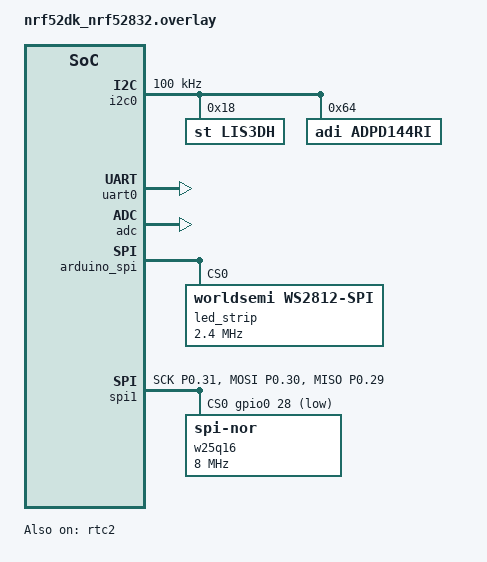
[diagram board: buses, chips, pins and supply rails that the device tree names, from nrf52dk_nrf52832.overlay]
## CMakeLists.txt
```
cmake_minimum_required(VERSION 3.20.0)
find_package(Zephyr REQUIRED HINTS $ENV{ZEPHYR_BASE})
project(Vitals_monitoring_system)


set(PARTITION_MANAGER_CONFIG ${CMAKE_CURRENT_SOURCE_DIR}/pm.yml)
# Add src/ as an include directory so headers like ble.h are found
target_link_libraries(app PUBLIC m)

target_include_directories(app PRIVATE src)

# Add all your C source files
target_sources(app PRIVATE
    src/main.c
    src/ble.c
    src/adpd144ri.c
    src/rtc.c
    src/temp.c
    src/lis3dh.c
    src/ws2812.c
    src/button.c
    src/gpio.c
)
```

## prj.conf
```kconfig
# # --- I2C ---
# CONFIG_I2C=y
# CONFIG_I2C_NRFX=y

# # --- UART & Logging ---
# CONFIG_SERIAL=y
# CONFIG_UART_CONSOLE=y
# CONFIG_PRINTK=y
# CONFIG_LOG=y
# CONFIG_LOG_MODE_IMMEDIATE=y

# # --- BLE Peripheral ---
# CONFIG_BT=y
# CONFIG_BT_PERIPHERAL=y
# CONFIG_BT_DEVICE_NAME="Vitals"
# CONFIG_BT_DEVICE_APPEARANCE=833
# CONFIG_BT_GATT_DYNAMIC_DB=y   # Required for dynamic GATT table

# CONFIG_BT_CONN_PARAM_UPDATE_TIMEOUT=5000
# CONFIG_BT_MAX_CONN=1

# # Optimized buffer configuration for notifications
# # Lower than defaults to save RAM but remain sufficient for throughput
# CONFIG_BT_CONN_TX_MAX=12
# CONFIG_BT_L2CAP_TX_MTU=247
# CONFIG_BT_BUF_ACL_TX_SIZE=251
# CONFIG_BT_BUF_ACL_TX_COUNT=10
# CONFIG_BT_BUF_ACL_RX_SIZE=251
# CONFIG_BT_BUF_ACL_RX_COUNT=6

# CONFIG_BT_MAX_PAIRED=1

# # Optional: Remove unnecessary GATT Client role
# CONFIG_BT_GATT_CLIENT=n
# CONFIG_BT_SMP=n

# # --- Threads / Memory ---
# # CONFIG_MAIN_STACK_SIZE=2048
# # CONFIG_SYSTEM_WORKQUEUE_STACK_SIZE=2048
# # CONFIG_HEAP_MEM_POOL_SIZE=4096

# # --- Time / POSIX ---
# CONFIG_NEWLIB_LIBC=y
# CONFIG_POSIX_API=y
# CONFIG_CBPRINTF_FP_SUPPORT=y
# CONFIG_NEWLIB_LIBC_FLOAT_PRINTF=y

# # --- ADC Support ---
# CONFIG_ADC=y
# CONFIG_ADC_NRFX_SAADC=y

# # --- Optional debugging helpers ---
# CONFIG_THREAD_NAME=y
# CONFIG_THREAD_MONITOR=y

# # --- GPIO & Clock ---
# CONFIG_GPIO=y
# CONFIG_CLOCK_CONTROL_NRF_K32SRC_XTAL=y

# # --- RTC / Counter ---
# CONFIG_NRFX_RTC2=y
# CONFIG_COUNTER=y
# #CONFIG_COUNTER_RTC=y
# CONFIG_RTC=y
# CONFIG_RTC_ALARM=y



# # SPI and SPI NOR flash support
# CONFIG_SPI=y
# CONFIG_SPI_NOR=y
# CONFIG_FLASH=y
# CONFIG_FLASH_MAP=y

# # External flash support & partition manager
# CONFIG_PM_PARTITION_REGION_LITTLEFS_EXTERNAL=y
# CONFIG_PM_EXTERNAL_FLASH_BASE=0x0


# # override driver check if driver not Nordic native
# CONFIG_PM_OVERRIDE_EXTERNAL_DRIVER_CHECK=y

# # File system
# CONFIG_FILE_SYSTEM=y
# CONFIG_FILE_SYSTEM_LITTLEFS=y

# # Logging
# CONFIG_LOG=y
# CONFIG_LOG_DEFAULT_LEVEL=3

# # Other necessities
# CONFIG_MAIN_STACK_SIZE=8192

# CONFIG_ISR_STACK_SIZE=4096

# CONFIG_LOG_PROCESS_THREAD_STACK_SIZE=3072

# CONFIG_HEAP_MEM_POOL_SIZE=16384

# CONFIG_SYSTEM_WORKQUEUE_STACK_SIZE=2048

# CONFIG_SPI_NRFX=y

# CONFIG_NORDIC_QSPI_NOR=n

# CONFIG_FLASH_PAGE_LAYOUT=y

# CONFIG_FS_LOG_LEVEL_INF=y

# CONFIG_SOC_NRF52832_ALLOW_SPIM_DESPITE_PAN_58=y

# CONFIG_MPU_STACK_GUARD=n
# CONFIG_INIT_STACKS=y

# CONFIG_THREAD_STACK_INFO=y

# CONFIG_HW_STACK_PROTECTION=y

# CONFIG_ASSERT=y

# # # Optional: analyze actual usage at boot
# # CONFIG_THREAD_ANALYZER=y
# # CONFIG_THREAD_ANALYZER_AUTO=y
# # CONFIG_THREAD_ANALYZER_USE_PRINTK=y

# # Enable shell
# CONFIG_SHELL=y
# CONFIG_SHELL_BACKEND_SERIAL=y
# CONFIG_SHELL_CMDS=y

# # Enable filesystem shell commands
# CONFIG_FILE_SYSTEM_SHELL=y

# # Enable file systems
# CONFIG_FILE_SYSTEM=y
# CONFIG_FILE_SYSTEM_LITTLEFS=y




# # --- I2C ---
# CONFIG_I2C=y
# CONFIG_I2C_NRFX=y

# # --- UART & Logging ---
# CONFIG_SERIAL=y
# CONFIG_UART_CONSOLE=y
# CONFIG_PRINTK=y
# CONFIG_CONSOLE=y
# CONFIG_LOG_BACKEND_UART=y
# CONFIG_LOG=y
# CONFIG_LOG_DEFAULT_LEVEL=3
# CONFIG_LOG_MODE_IMMEDIATE=y   # no log thread needed

# # --- LED --- #
# CONFIG_LED_STRIP=y
# CONFIG_LED_STRIP_LOG_LEVEL_DBG=y
# CONFIG_FPU=y


# # --- BLE Peripheral ---
# CONFIG_BT=y
# CONFIG_BT_PERIPHERAL=y
# CONFIG_BT_DEVICE_NAME="Vitals"
# CONFIG_BT_DEVICE_APPEARANCE=833
# CONFIG_BT_GATT_DYNAMIC_DB=y
# CONFIG_BT_CONN_PARAM_UPDATE_TIMEOUT=5000
# CONFIG_BT_MAX_CONN=1
# CONFIG_BT_MAX_PAIRED=1

# CONFIG_BT_CENTRAL=y


# # Optimized BLE buffers
# CONFIG_BT_CONN_TX_MAX=12
# CONFIG_BT_L2CAP_TX_MTU=247
# CONFIG_BT_BUF_ACL_TX_SIZE=251
# CONFIG_BT_BUF_ACL_TX_COUNT=10
# CONFIG_BT_BUF_ACL_RX_SIZE=251
# CONFIG_BT_BUF_ACL_RX_COUNT=6

# # Disable unused roles / security to save RAM
# CONFIG_BT_GATT_CLIENT=n
# CONFIG_BT_SMP=n

# # --- Threads / Memory ---
# CONFIG_MAIN_STACK_SIZE=2048
# CONFIG_ISR_STACK_SIZE=1024
# CONFIG_SYSTEM_WORKQUEUE_STACK_SIZE=1024
# CONFIG_HEAP_MEM_POOL_SIZE=2048

# # --- Time / POSIX ---
# CONFIG_NEWLIB_LIBC=n
# CONFIG_MINIMAL_LIBC=y
# CONFIG_POSIX_API=y
# CONFIG_CBPRINTF_FP_SUPPORT=y
# #CONFIG_NEWLIB_LIBC_FLOAT_PRINTF=y

# # Lower newlib heap requirement so it won't assert
# #CONFIG_NEWLIB_LIBC_MIN_REQUIRED_HEAP_SIZE=256

# # --- ADC Support ---
# CONFIG_ADC=y
# CONFIG_ADC_NRFX_SAADC=y

# # --- GPIO & Clock ---
# CONFIG_GPIO=y
# CONFIG_CLOCK_CONTROL_NRF_K32SRC_XTAL=y

# # --- RTC / Counter ---
# CONFIG_NRFX_RTC2=y
# CONFIG_COUNTER=y
# CONFIG_RTC=y
# CONFIG_RTC_ALARM=y

# # --- SPI & Flash ---
# CONFIG_SPI=y
# CONFIG_SPI_NRFX=y
# CONFIG_SOC_NRF52832_ALLOW_SPIM_DESPITE_PAN_58=y
# CONFIG_SPI_NOR=y
# CONFIG_FLASH=y
# CONFIG_FLASH_MAP=y
# CONFIG_FLASH_PAGE_LAYOUT=y

# # External flash + LittleFS
# CONFIG_PM_PARTITION_REGION_LITTLEFS_EXTERNAL=y
# CONFIG_PM_EXTERNAL_FLASH_BASE=0x0
# CONFIG_PM_OVERRIDE_EXTERNAL_DRIVER_CHECK=y
# CONFIG_FILE_SYSTEM=y
# CONFIG_FILE_SYSTEM_LITTLEFS=y
# CONFIG_FS_LOG_LEVEL_INF=y

# # --- Debug options (disable in production) ---
# CONFIG_ASSERT=y
# # CONFIG_THREAD_NAME=y
# # CONFIG_THREAD_MONITOR=y
# # CONFIG_INIT_STACKS=y
# # CONFIG_HW_STACK_PROTECTION=y
# # CONFIG_THREAD_ANALYZER=y
# # CONFIG_THREAD_ANALYZER_AUTO=y
# # CONFIG_THREAD_ANALYZER_USE_PRINTK=y

# # --- Optional shell (disable if not needed) ---
# CONFIG_SHELL=y
# CONFIG_SHELL_BACKEND_SERIAL=y
# CONFIG_SHELL_CMDS=y
# CONFIG_FILE_SYSTEM_SHELL=y
# # Increase shell UART thread stack to prevent overflow
# CONFIG_SHELL_STACK_SIZE=4096



# --- I2C ---
CONFIG_I2C=y
CONFIG_I2C_NRFX=y

# --- UART & Logging ---
CONFIG_SERIAL=y
CONFIG_UART_CONSOLE=y
CONFIG_PRINTK=y
CONFIG_CONSOLE=y
CONFIG_LOG_BACKEND_UART=y
CONFIG_LOG=y
CONFIG_LOG_DEFAULT_LEVEL=3
CONFIG_LOG_MODE_IMMEDIATE=y

# --- LED ---
CONFIG_LED_STRIP=y
CONFIG_LED_STRIP_LOG_LEVEL_DBG=y
CONFIG_FPU=y

# --- BLE Peripheral ---
CONFIG_BT=y
CONFIG_BT_PERIPHERAL=y
CONFIG_BT_DEVICE_NAME="Vitals"
CONFIG_BT_DEVICE_APPEARANCE=833
CONFIG_BT_GATT_DYNAMIC_DB=y
CONFIG_BT_CONN_PARAM_UPDATE_TIMEOUT=5000
CONFIG_BT_MAX_CONN=1
CONFIG_BT_MAX_PAIRED=1
CONFIG_BT_RX_STACK_SIZE=2048

# CONFIG_BT_CENTRAL=y
CONFIG_BT_GATT_CLIENT=n
CONFIG_BT_SMP=n

CONFIG_BT_CONN_TX_MAX=12
CONFIG_BT_L2CAP_TX_MTU=247
CONFIG_BT_BUF_ACL_TX_SIZE=251
CONFIG_BT_BUF_ACL_TX_COUNT=10
CONFIG_BT_BUF_ACL_RX_SIZE=251
CONFIG_BT_BUF_ACL_RX_COUNT=6

# --- Threads / Memory ---
CONFIG_MAIN_STACK_SIZE=2048
CONFIG_ISR_STACK_SIZE=1024
CONFIG_SYSTEM_WORKQUEUE_STACK_SIZE=2048
CONFIG_HEAP_MEM_POOL_SIZE=2048

# --- Time / POSIX ---
CONFIG_NEWLIB_LIBC=y
CONFIG_MINIMAL_LIBC=n
CONFIG_POSIX_API=n
CONFIG_CBPRINTF_FP_SUPPORT=y
# Remove Newlib-specific options
CONFIG_NEWLIB_LIBC_FLOAT_PRINTF=y
CONFIG_NEWLIB_LIBC_MIN_REQUIRED_HEAP_SIZE=256

# --- ADC Support ---
CONFIG_ADC=y
CONFIG_NRFX_SAADC=y
CONFIG_ADC_NRFX_SAADC=y

# --- GPIO & Clock ---
CONFIG_GPIO=y
CONFIG_GPIO_NRFX=y
CONFIG_CLOCK_CONTROL_NRF_K32SRC_XTAL=y

# --- RTC / Counter ---
CONFIG_NRFX_RTC2=y
CONFIG_COUNTER=y
CONFIG_RTC=y
CONFIG_RTC_ALARM=y

# --- SPI & Flash ---
CONFIG_SPI=y
CONFIG_SPI_NRFX=y
CONFIG_SOC_NRF52832_ALLOW_SPIM_DESPITE_PAN_58=y
CONFIG_SPI_NOR=y
CONFIG_FLASH=y
CONFIG_FLASH_MAP=y
CONFIG_FLASH_PAGE_LAYOUT=y

# --- External Flash + LittleFS ---
CONFIG_PM_PARTITION_REGION_LITTLEFS_EXTERNAL=y
CONFIG_PM_EXTERNAL_FLASH_BASE=0x0
CONFIG_PM_OVERRIDE_EXTERNAL_DRIVER_CHECK=y
CONFIG_FILE_SYSTEM=y
CONFIG_FILE_SYSTEM_LITTLEFS=y
CONFIG_FS_LOG_LEVEL_INF=y

# --- Debug options ---
CONFIG_ASSERT=y

# # --- Shell support ---
# CONFIG_SHELL=y
# CONFIG_SHELL_BACKEND_SERIAL=y
# CONFIG_SHELL_CMDS=y
# CONFIG_FILE_SYSTEM_SHELL=y
# CONFIG_SHELL_STACK_SIZE=4096

CONFIG_PM_DEVICE=y
```

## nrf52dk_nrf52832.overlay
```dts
/* --- I2C0 (TWIM0) --- */
&i2c0 {
    status = "okay";
    clock-frequency = <I2C_BITRATE_STANDARD>;
    pinctrl-0 = <&i2c0_default>;
    pinctrl-1 = <&i2c0_sleep>;
    pinctrl-names = "default", "sleep";

    lis3dh@18 {
        compatible = "st,lis3dh";
        reg = <0x18>;
        label = "LIS3DH";
        status = "okay";
    };

    adpd144ri@64 {
        compatible = "adi,adpd144ri";
        reg = <0x64>;
        label = "ADPD144RI";
        status = "okay";
    };
};



&uart0{
    status = "okay";
};

/* --- RTC2 --- */
&rtc2 {
    status = "okay";
};

// /* --- SAADC --- */
// &adc {
//     status = "okay";

//     /* Channel 1: Temperature on AIN2 (P0.04) */
//     channel@1 {
//         reg = <1 0 1>;
//         zephyr,gain = "ADC_GAIN_1_4";
//         zephyr,reference = "ADC_REF_VDD_1_4";
//         zephyr,acquisition-time = <ADC_ACQ_TIME_DEFAULT>;
//         zephyr,input-positive = <2>;   /* AIN2 = P0.04 */
//     };

//     /* Channel 6: Battery on AIN6 (P0.30) */
//     channel@6 {
//         reg = <6 0 1>;
//         zephyr,gain = "ADC_GAIN_1_6";
//         zephyr,reference = "ADC_REF_INTERNAL";
//         zephyr,acquisition-time = <ADC_ACQ_TIME_DEFAULT>;
//         zephyr,input-positive = <6>;   /* AIN6 = P0.30 */
//     };
// };


// /* --- SAADC --- */
// &adc {
//     status = "okay";

//     /* Channel 1: Temperature on AIN2 */
//     channel@1 {
//         reg = <1 0 1>;
//         zephyr,gain = "ADC_GAIN_1_4";
//         zephyr,reference = "ADC_REF_VDD_1_4";
//         zephyr,acquisition-time = <ADC_ACQ_TIME_DEFAULT>;
//         zephyr,input-positive = <2>;
//     };

//     /* Channel 3: Battery on AIN3 */
//     channel@0 {
//         reg = <0 0 1>;
//         zephyr,gain = "ADC_GAIN_1_6";
//         zephyr,reference = "ADC_REF_INTERNAL";
//         zephyr,acquisition-time = <ADC_ACQ_TIME_DEFAULT>;
//         zephyr,input-positive = <1>;
//     };
// };



#include <zephyr/dt-bindings/led/led.h>

//#include "../nrf52-bindings.h"
&adc {
    status = "okay";
};

&arduino_spi { /* MOSI on D11 / P0.23 */
	compatible = "nordic,nrf-spim";
	led_strip: ws2812@0 {
		compatible = "worldsemi,ws2812-spi";

		/* SPI */
		reg = <0>; /* ignored, but necessary for SPI bindings */
		spi-max-frequency = <2400000>;

		/* WS2812 */
		chain-length = <1>; /* arbitrary; change at will */
		color-mapping = <LED_COLOR_ID_GREEN
				 LED_COLOR_ID_RED
				 LED_COLOR_ID_BLUE>;  
     		spi-one-frame = <0x60>;
		spi-zero-frame = <0x40>;
	};
};

/ {
    aliases {
        led0 = &led0;
        sw0 = &button0;
        led-strip = &led_strip;
    };
};

/ {
    chosen {
        nordic,pm-ext-flash = &w25q16;
        zephyr,flash = &flash0;
    };
};

&pinctrl {
    spi_master_default: spi_master_default {
        group1 {
            psels = <NRF_PSEL(SPIM_SCK, 0, 31)>,
                    <NRF_PSEL(SPIM_MOSI, 0, 30)>,
                    <NRF_PSEL(SPIM_MISO, 0, 29)>;
        };
    };
    spi_master_sleep: spi_master_sleep {
        group1 {
            psels = <NRF_PSEL(SPIM_SCK, 0, 31)>,
                    <NRF_PSEL(SPIM_MOSI, 0, 30)>,
                    <NRF_PSEL(SPIM_MISO, 0, 29)>;
            low-power-enable;
        };
    };
};

&spi1 {
    status = "okay";
    pinctrl-0 = <&spi_master_default>;
    pinctrl-1 = <&spi_master_sleep>;
    pinctrl-names = "default", "sleep";

    cs-gpios = <&gpio0 28 GPIO_ACTIVE_LOW>;

    w25q16: w25q16@0 {
        compatible = "jedec,spi-nor";
        reg = <0>;
        spi-max-frequency = <8000000>; /* 8 MHz or adjust as needed */
        jedec-id = [ ef 40 15 ];       /* W25Q16 JEDEC ID */
        size = <0x1000000>;             /* 2 MB (ensure correct size for your chip) */
        label = "w25q16";
        status = "okay";

    };
};
```

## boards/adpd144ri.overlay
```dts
&i2c0 {
    status = "okay";
    clock-frequency = <I2C_BITRATE_STANDARD>;
    sda-pin = <26>;
    scl-pin = <27>;
};

&uart0 {
    status = "okay";
    current-speed = <115200>;
};

&rtc2 {
    status = "okay";
};

&adc {
    status = "okay";

    /* Optional: configure ADC calibration if supported */
    /* calibration = <1>; */

    /* Configure ADC channel used by temperature sensor */
    channels {
        temp_sensor_channel: temp-sensor-channel {
            channel = <1>;             /* ADC channel ID, matching your code */
            input = <NRF_SAADC_INPUT_AIN2>; /* AIN2, P0.03, as per your implementation */
            gain = <ADC_GAIN_1_6>;    /* Gain as you define in code */
            reference = <ADC_REF_INTERNAL>;
            acquisition-time = <ADC_ACQ_TIME_DEFAULT>;
        };
    };
};
```

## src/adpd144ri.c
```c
#include <zephyr/device.h>
#include <zephyr/drivers/i2c.h>
#include <zephyr/sys/printk.h>
#include "adpd144ri.h"

#define ADPD144RI_I2C_ADDR 0x64        // I2C slave address

/*This function writes a 16-bit value to a register of the ADPD144RI sensor via the I2C interface.*/
int adpd144ri_write_reg16(const struct device *i2c_dev, uint8_t reg, uint16_t value) {
    uint8_t buf[3] = { reg, value >> 8, value & 0xFF };
    int ret = i2c_write(i2c_dev, buf, sizeof(buf), ADPD144RI_I2C_ADDR);
    if (ret)
        printk("[I2C] Write reg 0x%02X failed: %d\n", reg, ret);
    return ret;
}


/*This function reads a 16-bit register value from the ADPD144RI optical sensor using the I2C interface.*/
int adpd144ri_read_reg16(const struct device *i2c_dev, uint8_t reg, uint16_t *value) {
    uint8_t data[2];
    int ret = i2c_write_read(i2c_dev, ADPD144RI_I2C_ADDR, &reg, 1, data, 2);
    if (ret)
        printk("[I2C] Read reg 0x%02X failed: %d\n", reg, ret);
    else
        *value = (data[0] << 8) | data[1];
    return ret;
}


/*This function sets up (initializes and configures) the ADPD144RI sensor module via I2C for SPO2 (blood oxygen) and heart rate (HR) monitoring.*/
int adpd144ri_configure_spo2_hr(const struct device *i2c_dev) {
    printk("[I2C] Configuring ADPD144RI sensor ...\n");
    int rc = 0;
    rc += adpd144ri_write_reg16(i2c_dev, 0x10, 0x0001);
    rc += adpd144ri_write_reg16(i2c_dev, 0x02, 0x0005);     
    rc += adpd144ri_write_reg16(i2c_dev, 0x01, 0x009F);
    rc += adpd144ri_write_reg16(i2c_dev, 0x11, 0x30A9);
    rc += adpd144ri_write_reg16(i2c_dev, 0x12, 0x0102);
    rc += adpd144ri_write_reg16(i2c_dev, 0x15, 0x0330);
    rc += adpd144ri_write_reg16(i2c_dev, 0x14, 0x0116);
    rc += adpd144ri_write_reg16(i2c_dev, 0x18, 0x3FFF);
    rc += adpd144ri_write_reg16(i2c_dev, 0x19, 0x3FFF);
    rc += adpd144ri_write_reg16(i2c_dev, 0x1A, 0x1FF0);
    rc += adpd144ri_write_reg16(i2c_dev, 0x1B, 0x1FF0);
    rc += adpd144ri_write_reg16(i2c_dev, 0x1E, 0x3FFF);
    rc += adpd144ri_write_reg16(i2c_dev, 0x1F, 0x3FFF);
    rc += adpd144ri_write_reg16(i2c_dev, 0x20, 0x1FF0);
    rc += adpd144ri_write_reg16(i2c_dev, 0x21, 0x1FF0);
    rc += adpd144ri_write_reg16(i2c_dev, 0x23, 0x3005);
    rc += adpd144ri_write_reg16(i2c_dev, 0x24, 0x3007);
    rc += adpd144ri_write_reg16(i2c_dev, 0x25, 0x0207);
    rc += adpd144ri_write_reg16(i2c_dev, 0x30, 0x0319);
    rc += adpd144ri_write_reg16(i2c_dev, 0x31, 0x0813);
    rc += adpd144ri_write_reg16(i2c_dev, 0x35, 0x0319);
    rc += adpd144ri_write_reg16(i2c_dev, 0x36, 0x0813);
    rc += adpd144ri_write_reg16(i2c_dev, 0x39, 0x21F3);
    rc += adpd144ri_write_reg16(i2c_dev, 0x3B, 0x21F3);
    rc += adpd144ri_write_reg16(i2c_dev, 0x42, 0x1C36);
    rc += adpd144ri_write_reg16(i2c_dev, 0x44, 0x1C36);
    rc += adpd144ri_write_reg16(i2c_dev, 0x4E, 0x0040);
    rc += adpd144ri_write_reg16(i2c_dev, 0x4B, 0x0080);
    rc += adpd144ri_write_reg16(i2c_dev, 0x10, 0x0002);
    k_msleep(50);
    if (rc)
        printk("[I2C] One or more sensor config writes failed: rc=%d\n", rc);
    else
        printk("[I2C] ADPD144RI configuration done.\n");
    return rc;
}


/*This function reads two 24-bit sensor channel values from the ADPD144RI sensor using I2C*/
int adpd144ri_read_2ch(const struct device *i2c_dev, uint32_t *data) {
    int rc = adpd144ri_write_reg16(i2c_dev, 0x5F, 0x0006);
    if (rc) { printk("[I2C] Measurement reg set failed: %d\n", rc); return rc; }

    uint16_t ch_red_l=0, ch_red_h=0, ch_ir_l=0, ch_ir_h=0;

    rc |= adpd144ri_read_reg16(i2c_dev, 0x72, &ch_red_l);      // Read CH3 LSB 
    rc |= adpd144ri_read_reg16(i2c_dev, 0x76, &ch_red_h);      // Read CH3 MSB 
    rc |= adpd144ri_read_reg16(i2c_dev, 0x73, &ch_ir_l);      // Read CH4 LSB
    rc |= adpd144ri_read_reg16(i2c_dev, 0x77, &ch_ir_h);      // Read CH4 MSB

    if (rc) { printk("[I2C] One or more channel reads failed: rc=%d\n", rc); return rc; }

    data[0] = ((uint32_t)ch_red_h << 16) | ch_red_l;      // CH3 = MSB << 16 | LSB
    data[1] = ((uint32_t)ch_ir_h << 16) | ch_ir_l;      // CH4 = MSB << 16 | LSB  
    
    rc = adpd144ri_write_reg16(i2c_dev, 0x5F, 0x0000);
    if (rc) { printk("[I2C] Measurement reg reset failed: %d\n", rc); return rc; }
    return 0;
}
```

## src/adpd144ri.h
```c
#ifndef ADPD144RI_H
#define ADPD144RI_H
#include <zephyr/device.h>
#include <stdint.h>

#define PPG_NUM_CHANNELS 2                 // Number of sensor data channels to read

typedef struct {
    uint16_t ppg_sample_id;
    uint64_t timestamp_ms;                // Timestamp when sample was taken
    uint32_t channels[PPG_NUM_CHANNELS]; // Array to hold red and IR LED values
} PPGSample;

int adpd144ri_write_reg16(const struct device *i2c_dev, uint8_t reg, uint16_t value);
int adpd144ri_read_reg16(const struct device *i2c_dev, uint8_t reg, uint16_t *value);
int adpd144ri_configure_spo2_hr(const struct device *i2c_dev);
int adpd144ri_read_2ch(const struct device *i2c_dev, uint32_t *data);

#endif
```

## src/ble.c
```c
#include <zephyr/kernel.h>
#include <zephyr/sys/printk.h>
#include <zephyr/bluetooth/bluetooth.h>
#include <zephyr/bluetooth/gatt.h>
#include <zephyr/logging/log.h>
#include <zephyr/bluetooth/uuid.h>
#include <zephyr/bluetooth/hci.h>
#include <string.h>
#include "ble.h"
#include "ws2812.h"


uint16_t patient_id;
/* Backing storage for ACK characteristic */
uint8_t ack_value[10];  
static struct bt_gatt_attr *ack_char_attr = NULL;

/* Read callback */
static ssize_t read_ack(struct bt_conn *conn,
                        const struct bt_gatt_attr *attr,
                        void *buf, uint16_t len, uint16_t offset)
{
    const char *value = (const char *)ack_value;
    return bt_gatt_attr_read(conn, attr, buf, len, offset, value, strlen(value));
}

/* Write callback (from mobile side) */
static ssize_t write_ack(struct bt_conn *conn,
                         const struct bt_gatt_attr *attr,
                         const void *buf, uint16_t len,
                         uint16_t offset, uint8_t flags)
{
    if (len >= sizeof(ack_value)) {
        return BT_GATT_ERR(BT_ATT_ERR_INVALID_ATTRIBUTE_LEN);
    }

    memset(ack_value, 0, sizeof(ack_value));
    memcpy(ack_value, buf, len);

    printk("ACK updated from mobile: %s\n", ack_value);

    return len;
}

/* --- Patient ID Characteristic --- */
ssize_t write_patient_id(struct bt_conn *conn,
                         const struct bt_gatt_attr *attr,
                         const void *buf, uint16_t len,
                         uint16_t offset, uint8_t flags)
{
    if (len == 2) {
        memcpy(&patient_id, buf, sizeof(patient_id));
        printk("Patient ID received: %u\n", patient_id);
    }
    return len;
}

uint32_t UNIX_TIME_START = 0;

ssize_t write_timestamp(struct bt_conn *conn,
                        const struct bt_gatt_attr *attr,
                        const void *buf, uint16_t len,
                        uint16_t offset, uint8_t flags)
{
    if (len == 4) {
        uint32_t unix_time =
              ((uint32_t)((uint8_t*)buf)[0]) |
              ((uint32_t)((uint8_t*)buf)[1] << 8) |
              ((uint32_t)((uint8_t*)buf)[2] << 16) |
              ((uint32_t)((uint8_t*)buf)[3] << 24);

        printk("Received UNIX time: %u (s)\n", unix_time);

        rtc2_init(unix_time);  

        uint64_t now = get_timestamp_ms();
        printk("Full timestamp (ms): %llu\n", (uint64_t)now);

        char buf_time[32];
        format_timestamp(now, buf_time, sizeof(buf_time));
        printk("Formatted time: %s\n", buf_time);
    }
    return len;
}

char sensor_notify_buf_ppg[SENSOR_NOTIFY_BUF_SIZE];
char sensor_notify_buf_temp[SENSOR_NOTIFY_BUF_SIZE];
char sensor_notify_buf_accel[SENSOR_NOTIFY_BUF_SIZE];

struct bt_conn *current_conn = NULL;
volatile bool notify_enabled_ppg = false;
volatile bool notify_enabled_temp = false;
volatile bool notify_enabled_accel = false;
volatile bool ack_notify_enabled = false;
struct k_mutex notify_buf_mutex;

/* ---------- UUIDs ---------- */
/* One Service UUID */
static struct bt_uuid_128 vitals_service_uuid = BT_UUID_INIT_128(
    0xac, 0xdf, 0xd2, 0x00, 0x4b, 0xd6, 0x69, 0xac,
    0x97, 0x42, 0x94, 0x26, 0x3e, 0x24, 0x9e, 0xf6);

/* Three Characteristic UUIDs */
static struct bt_uuid_128 ppg_char_uuid = BT_UUID_INIT_128(
    0xb7, 0x5c, 0xb4, 0x7b, 0xb8, 0x27, 0x5a, 0xa1,
    0x20, 0x44, 0x4b, 0x9c, 0xd4, 0x4a, 0x95, 0x4c);

static struct bt_uuid_128 temp_char_uuid = BT_UUID_INIT_128(
    0xd2, 0xf8, 0x67, 0x5a, 0xce, 0x5a, 0x64, 0x86,
    0xfe, 0x43, 0xf6, 0x7a, 0x90, 0x67, 0xf6, 0x66);

static struct bt_uuid_128 accel_char_uuid = BT_UUID_INIT_128(
    0x98, 0x65, 0x12, 0xa1, 0xd8, 0x03, 0xb3, 0x93,
    0x42, 0xf1, 0x61, 0x43, 0x96, 0x21, 0xf5, 0x0a);

/* -------- ACK Characteristic UUID -------- */
static struct bt_uuid_128 ack_char_uuid =
    BT_UUID_INIT_128(0xf1, 0xde, 0xbc, 0x9a, 0x78, 0x56, 0x34, 0x12,
                     0x34, 0x12, 0x78, 0x56, 0x34, 0x12, 0x56, 0x12);

/* -------- Patient ID Characteristic UUID -------- */
static struct bt_uuid_128 patient_id_char_uuid =
    BT_UUID_INIT_128(0xf2, 0xde, 0xbc, 0x9a, 0x78, 0x56, 0x34, 0x12,
                     0x34, 0x12, 0x78, 0x56, 0x34, 0x12, 0x56, 0x12);

/* -------- Timestamp Characteristic UUID -------- */
static struct bt_uuid_128 timestamp_char_uuid =
    BT_UUID_INIT_128(0xf3, 0xde, 0xbc, 0x9a, 0x78, 0x56, 0x34, 0x12,
                     0x34, 0x12, 0x78, 0x56, 0x34, 0x12, 0x56, 0x12);

const struct bt_gatt_attr *ppg_char_attr = NULL;
const struct bt_gatt_attr *temp_char_attr = NULL;
const struct bt_gatt_attr *accel_char_attr = NULL;

/* ---------- Read Callbacks ---------- */
static ssize_t read_ppg(struct bt_conn *conn, const struct bt_gatt_attr *attr,
                        void *buf, uint16_t len, uint16_t offset)
{
    ssize_t ret;
    k_mutex_lock(&notify_buf_mutex, K_FOREVER);
    ret = bt_gatt_attr_read(conn, attr, buf, len, offset,
                            sensor_notify_buf_ppg, strlen(sensor_notify_buf_ppg));
    k_mutex_unlock(&notify_buf_mutex);
    return ret;
}

static ssize_t read_temp(struct bt_conn *conn, const struct bt_gatt_attr *attr,
                         void *buf, uint16_t len, uint16_t offset)
{
    ssize_t ret;
    k_mutex_lock(&notify_buf_mutex, K_FOREVER);
    ret = bt_gatt_attr_read(conn, attr, buf, len, offset,
                            sensor_notify_buf_temp, strlen(sensor_notify_buf_temp));
    k_mutex_unlock(&notify_buf_mutex);
    return ret;
}

static ssize_t read_accel(struct bt_conn *conn, const struct bt_gatt_attr *attr,
                          void *buf, uint16_t len, uint16_t offset)
{
    ssize_t ret;
    k_mutex_lock(&notify_buf_mutex, K_FOREVER);
    ret = bt_gatt_attr_read(conn, attr, buf, len, offset,
                            sensor_notify_buf_accel, strlen(sensor_notify_buf_accel));
    k_mutex_unlock(&notify_buf_mutex);
    return ret;
}

/* ---------- CCCD Callbacks ---------- */
static void ccc_cfg_changed_ppg(const struct bt_gatt_attr *attr, uint16_t value)
{
    notify_enabled_ppg = (value == BT_GATT_CCC_NOTIFY);
}

static void ccc_cfg_changed_temp(const struct bt_gatt_attr *attr, uint16_t value)
{
    notify_enabled_temp = (value == BT_GATT_CCC_NOTIFY);
}

static void ccc_cfg_changed_accel(const struct bt_gatt_attr *attr, uint16_t value)
{
    notify_enabled_accel = (value == BT_GATT_CCC_NOTIFY);
}

static void ack_ccc_cfg_changed(const struct bt_gatt_attr *attr, uint16_t value)
{
    ack_notify_enabled = (value == BT_GATT_CCC_NOTIFY);
}

/* ---------- Single Service with 3 Characteristics ---------- */
BT_GATT_SERVICE_DEFINE(vitals_svc,
    BT_GATT_PRIMARY_SERVICE(&vitals_service_uuid),

    /* ACK Characteristic */
    BT_GATT_CHARACTERISTIC(&ack_char_uuid.uuid,
                           BT_GATT_CHRC_READ | BT_GATT_CHRC_WRITE | BT_GATT_CHRC_NOTIFY,
                           BT_GATT_PERM_READ | BT_GATT_PERM_WRITE,
                           read_ack, write_ack, &ack_value),
    BT_GATT_CCC(ack_ccc_cfg_changed,
                BT_GATT_PERM_READ | BT_GATT_PERM_WRITE),

    /* Patient ID Characteristic */
    BT_GATT_CHARACTERISTIC(&patient_id_char_uuid.uuid,
                           BT_GATT_CHRC_WRITE,
                           BT_GATT_PERM_WRITE,
                           NULL, write_patient_id, NULL),

    /* Timestamp Characteristic */
    BT_GATT_CHARACTERISTIC(&timestamp_char_uuid.uuid,
                           BT_GATT_CHRC_WRITE,
                           BT_GATT_PERM_WRITE,
                           NULL, write_timestamp, NULL),

    /* PPG Characteristic */
    BT_GATT_CHARACTERISTIC(&ppg_char_uuid.uuid,
                           BT_GATT_CHRC_READ | BT_GATT_CHRC_NOTIFY,
                           BT_GATT_PERM_READ,
                           read_ppg, NULL, NULL),
    BT_GATT_CCC(ccc_cfg_changed_ppg,
                BT_GATT_PERM_READ | BT_GATT_PERM_WRITE),

     /* Accel Characteristic */
    BT_GATT_CHARACTERISTIC(&accel_char_uuid.uuid,
                           BT_GATT_CHRC_READ | BT_GATT_CHRC_NOTIFY,
                           BT_GATT_PERM_READ,
                           read_accel, NULL, NULL),
    BT_GATT_CCC(ccc_cfg_changed_accel,
                BT_GATT_PERM_READ | BT_GATT_PERM_WRITE),

    /* Temp Characteristic */
    BT_GATT_CHARACTERISTIC(&temp_char_uuid.uuid,
                           BT_GATT_CHRC_READ | BT_GATT_CHRC_NOTIFY,
                           BT_GATT_PERM_READ,
                           read_temp, NULL, NULL),
    BT_GATT_CCC(ccc_cfg_changed_temp,
                BT_GATT_PERM_READ | BT_GATT_PERM_WRITE)
);


/* Assign characteristic pointers dynamically */
static void assign_attr_pointers(void)
{
    for (int i = 0; i < vitals_svc.attr_count; i++) {
        const struct bt_uuid *uuid = vitals_svc.attrs[i].uuid;

        if (!uuid) {
            continue;
        }

        if (bt_uuid_cmp(uuid, &ack_char_uuid.uuid) == 0) {
            ack_char_attr = &vitals_svc.attrs[i];
        }
        else if (bt_uuid_cmp(uuid, &ppg_char_uuid.uuid) == 0) {
            ppg_char_attr = &vitals_svc.attrs[i];
        }
        else if (bt_uuid_cmp(uuid, &accel_char_uuid.uuid) == 0) {
            accel_char_attr = &vitals_svc.attrs[i];
        }
        else if (bt_uuid_cmp(uuid, &temp_char_uuid.uuid) == 0) {
            temp_char_attr = &vitals_svc.attrs[i];
        }
    }

    /* Debug prints so you can verify */
    printk("assign_attr_pointers: ACK=%p, PPG=%p, ACCEL=%p, TEMP=%p\n",
           ack_char_attr, ppg_char_attr, accel_char_attr, temp_char_attr);
}


/* ---------- BLE Helpers ---------- */
void print_ble_address(void)
{
    bt_addr_le_t addr;
    size_t count = 1;
    bt_id_get(&addr, &count);
    char buf[BT_ADDR_LE_STR_LEN];
    bt_addr_le_to_str(&addr, buf, sizeof(buf));
    printk("[BLE] Device BT Address: %s\n", buf);
}

void connected(struct bt_conn *conn, uint8_t err)
{
    if (err) {
        printk("[BLE] Connection failed (err %u)\n", err);
        return;
    }
    current_conn = bt_conn_ref(conn);
    printk("[BLE] Device Connected\n");
    ws2812_set_color(&BLUE);
       k_timer_stop(&ble_disconnect_timer);
}

void disconnected(struct bt_conn *conn, uint8_t reason)
{
    printk("[BLE] Disconnected (reason 0x%02x)\n", reason);
    ws2812_set_color(&GREEN);
    if (current_conn) {
        bt_conn_unref(current_conn);
        current_conn = NULL;
    }
    notify_enabled_ppg = false;
    notify_enabled_temp = false;
    notify_enabled_accel = false;
}

BT_CONN_CB_DEFINE(conn_callbacks) = {
    .connected = connected,
    .disconnected = disconnected,
};

static const struct bt_le_adv_param *adv_param = BT_LE_ADV_PARAM(
    (BT_LE_ADV_OPT_CONNECTABLE | BT_LE_ADV_OPT_USE_IDENTITY), 78, 78, NULL);

const struct bt_data ad[] = {
    BT_DATA_BYTES(BT_DATA_FLAGS, (BT_LE_AD_GENERAL | BT_LE_AD_NO_BREDR)),
    BT_DATA(BT_DATA_NAME_COMPLETE, "Vitals", 6),
    BT_DATA_BYTES(BT_DATA_UUID128_ALL,
                  0xac, 0xdf, 0xd2, 0x00, 0x4b, 0xd6, 0x69, 0xac,
                  0x97, 0x42, 0x94, 0x26, 0x3e, 0x24, 0x9e, 0xf6)
};

LOG_MODULE_REGISTER(ble_module, LOG_LEVEL_INF);

struct k_work ble_disconnect_work;

void ble_disconnect_work_handler(struct k_work *work)
{
    LOG_INF("No connection for 3 minutes. Powering off.");
    
    ws2812_blink_violet();
}

void ble_disconnect_timeout(struct k_timer *dummy)
{
    // Schedule the work instead of doing it in timer context
    k_work_submit(&ble_disconnect_work);
}

void bt_ready(int err)
{
    printk("[MAIN] bt_ready callback, err=%d\n", err);
    if (err) {
        printk("[BLE] Bluetooth init failed (err %d)\n", err);
        return;
    }
    printk("[BLE] Bluetooth initialized\n");
    print_ble_address();

    assign_attr_pointers();

    int ret = bt_le_adv_start(adv_param, ad, ARRAY_SIZE(ad), NULL, 0);
    if (ret) {
        printk("[BLE] Advertising failed to start (err %d)\n", ret);
    } else {
        printk("[BLE] Advertising started successfully!\n");
        k_timer_init(&ble_disconnect_timer, ble_disconnect_timeout, NULL);
        k_timer_start(&ble_disconnect_timer, K_MSEC(BLE_TIMEOUT_MS), K_NO_WAIT);
    }
}

void send_ack_to_mobile(const char *ack_msg)
{
    // Copy the message to the backing buffer
    strncpy(ack_value, ack_msg, sizeof(ack_value) - 1);
    ack_value[sizeof(ack_value) - 1] = '\0';

    if (ack_notify_enabled && current_conn && ack_char_attr) {
        bt_gatt_notify(current_conn, ack_char_attr,
                       ack_value, strlen(ack_value));
        printk("ACK sent to mobile: %s\n", ack_value);
    } else {
        printk("ACK notify not enabled or no connection.\n");
    }
}
```

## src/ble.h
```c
#ifndef BLE_H_
#define BLE_H_

#include <zephyr/bluetooth/gatt.h>
#include <zephyr/kernel.h>
#include <stdbool.h>
#include <zephyr/bluetooth/bluetooth.h>

#define SENSOR_NOTIFY_BUF_SIZE 512
#define BLE_TIMEOUT_MS 180000  // 3 minutes

static struct k_timer ble_disconnect_timer;

// Notification buffers for each sensor
extern char sensor_notify_buf_ppg[SENSOR_NOTIFY_BUF_SIZE];
extern char sensor_notify_buf_temp[SENSOR_NOTIFY_BUF_SIZE];
extern char sensor_notify_buf_accel[SENSOR_NOTIFY_BUF_SIZE];

// GATT service static struct
extern const struct bt_gatt_service_static ppg_svc;
extern const struct bt_gatt_service_static temp_svc;
extern const struct bt_gatt_service_static accel_svc;

// Attribute pointers to characteristic values for notifications
extern const struct bt_gatt_attr *ppg_char_attr;
extern const struct bt_gatt_attr *temp_char_attr;
extern const struct bt_gatt_attr *accel_char_attr;

// BLE connection object
extern struct bt_conn *current_conn;

// Per-characteristic notification enabled flags
extern volatile bool notify_enabled_ppg;
extern volatile bool notify_enabled_temp;
extern volatile bool notify_enabled_accel;
extern volatile bool ack_notify_enabled;

// Mutex protecting notification buffers
extern struct k_mutex notify_buf_mutex;

// BLE function callbacks
void bt_ready(int err);
void connected(struct bt_conn *conn, uint8_t err);
void disconnected(struct bt_conn *conn, uint8_t reason);


extern uint8_t ack_value[10];
extern uint16_t patient_id;
extern uint32_t timestamp_s;

void send_ack_to_mobile(const char *ack_msg);
#endif 
```

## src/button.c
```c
#include "button.h"
#include "ws2812.h"
#include <zephyr/logging/log.h>
#include <zephyr/kernel.h>

LOG_MODULE_REGISTER(button_driver, LOG_LEVEL_INF);

#define SW0_NODE DT_ALIAS(sw0)
static const struct gpio_dt_spec button = GPIO_DT_SPEC_GET(SW0_NODE, gpios);
static struct gpio_callback button_cb_data;

/* Button state */
static int64_t press_start_time = 0;
static int64_t last_interrupt_time = 0;
static bool single_pending = false;

/* Timers & work */
static struct k_timer single_press_timer;
static struct k_work button_work;
static struct k_work_delayable led_off_work;

static button_event_t pending_event = BUTTON_EVENT_NONE;

/* ------------------ LED OFF work ------------------ */
void led_off_handler(struct k_work *work) {
    ws2812_set_color(&OFF);
}

/* ------------------ Button ISR ------------------ */
static void button_isr(const struct device *dev,
                       struct gpio_callback *cb,
                       uint32_t pins)
{
    int64_t now = k_uptime_get();

    /* Debounce */
    if (now - last_interrupt_time < DEBOUNCE_MS) return;
    last_interrupt_time = now;

    if (gpio_pin_get_dt(&button)) {
        /* Button pressed */
        press_start_time = now;
    } else {
        /* Button released */
        int64_t press_duration = now - press_start_time;

        if (press_duration >= LONG_PRESS_MS) {
            k_timer_stop(&single_press_timer);
            single_pending = false;
            pending_event = BUTTON_EVENT_LONG_PRESS;
            k_work_submit(&button_work);
        } else {
            if (single_pending) {
                k_timer_stop(&single_press_timer);
                single_pending = false;
                pending_event = BUTTON_EVENT_DOUBLE_PRESS;
                k_work_submit(&button_work);
            } else {
                single_pending = true;
                k_timer_start(&single_press_timer, K_MSEC(DOUBLE_PRESS_GAP), K_NO_WAIT);
            }
        }
    }
}

/* Timer expiry → single press */
static void single_press_timeout(struct k_timer *timer_id) {
    if (single_pending) {
        single_pending = false;
        pending_event = BUTTON_EVENT_SINGLE_PRESS;
        k_work_submit(&button_work);
    }
}

/* Work handler → safe to update LEDs here */
static void button_work_handler(struct k_work *work) {
    switch (pending_event) {
        case BUTTON_EVENT_SINGLE_PRESS:
            LOG_INF("Single press → LED GREEN");
            k_work_cancel_delayable(&led_off_work);
            ws2812_set_color(&GREEN);
            k_work_schedule(&led_off_work, K_MINUTES(1));
            break;

        case BUTTON_EVENT_DOUBLE_PRESS:
            LOG_INF("Double press → Blink BLUE");
            k_work_cancel_delayable(&led_off_work);
            ws2812_blink_blue();  // now non-blocking
            break;

        case BUTTON_EVENT_LONG_PRESS:
            LOG_INF("Long press → LED OFF");
            k_work_cancel_delayable(&led_off_work);
            ws2812_set_color(&OFF);
            break;

        default:
            break;
    }
    pending_event = BUTTON_EVENT_NONE;
}

/* ------------------ Initialization ------------------ */
int button_init(void) {
    if (!device_is_ready(button.port)) {
        LOG_ERR("Button not ready");
        return -ENODEV;
    }

    gpio_pin_configure_dt(&button, GPIO_INPUT);
    gpio_pin_interrupt_configure_dt(&button, GPIO_INT_EDGE_BOTH);

    gpio_init_callback(&button_cb_data, button_isr, BIT(button.pin));
    gpio_add_callback(button.port, &button_cb_data);

    k_timer_init(&single_press_timer, single_press_timeout, NULL);
    k_work_init(&button_work, button_work_handler);
    k_work_init_delayable(&led_off_work, led_off_handler);

    LOG_INF("Button initialized");
    return 0;
}
```

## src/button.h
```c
#ifndef BUTTON_H
#define BUTTON_H

#include <zephyr/kernel.h>
#include <zephyr/device.h>
#include <zephyr/drivers/gpio.h>

#define LONG_PRESS_MS     1000   /* 1 second long press */
#define DOUBLE_PRESS_GAP  500    /* Max gap (ms) for double press */
#define DEBOUNCE_MS       50     /* Debounce time */

typedef enum {
    BUTTON_EVENT_NONE = 0,
    BUTTON_EVENT_SINGLE_PRESS,
    BUTTON_EVENT_DOUBLE_PRESS,
    BUTTON_EVENT_LONG_PRESS
} button_event_t;

int button_init(void);

#endif /* BUTTON_H */
```

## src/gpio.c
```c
#include <zephyr/kernel.h>
#include <zephyr/device.h>
#include <zephyr/drivers/gpio.h>

#include "gpio.h"

#define GPIO0_NODE DT_NODELABEL(gpio0)

const struct device *gpio0_dev = DEVICE_DT_GET(GPIO0_NODE);
static struct gpio_callback charging_cb_data;

void gpio_high(void)
{
      if (!device_is_ready(gpio0_dev)) {
        printk("Error: GPIO device not ready\n");
        return;
    }

    // Configure pin as output and set high
    int x=gpio_pin_configure(gpio0_dev, GPIO_PIN, GPIO_OUTPUT_ACTIVE);

    if(!x){printk("GPIO 16 set HIGH\n");}
    else{printk("gpio fail\n");}
} 


void charging_connected_callback(const struct device *dev, struct gpio_callback *cb, uint32_t pins)
{
    printk("[CHARGING] Interrupt triggered! Charger connected.\n");

    if (!device_is_ready(gpio0_dev)) {
        printk("Error: GPIO device not ready\n");
        return;
    }

    // Set GPIO 16 low to cut power
    int ret = gpio_pin_configure(gpio0_dev, GPIO_PIN, GPIO_OUTPUT_LOW);
    if (ret == 0) {
        printk("GPIO 16 set LOW (cutting power)\n");
    } else {
        printk("Failed to set GPIO 16 LOW: %d\n", ret);
    }

    printk("[CHARGING] Shutting down the device...\n");
    nrf_power_system_off(NRF_POWER);
}


// Setup charging pin as input with interrupt
void setup_charging_interrupt(void)
{
    int ret;

    if (!device_is_ready(gpio0_dev)) {
        printk("Error: GPIO device not ready\n");
        return;
    }


    // Configure the pin as input with pull-down
    ret = gpio_pin_configure(gpio0_dev, CHARGING_GPIO_PIN, GPIO_INPUT | GPIO_PULL_DOWN);
    if (ret < 0) {
        printk("[CHARGING] Error configuring pin: %d\n", ret);
        return;
    }

    // Configure interrupt on rising edge
    ret = gpio_pin_interrupt_configure(gpio0_dev, CHARGING_GPIO_PIN, GPIO_INT_EDGE_RISING);
    if (ret < 0) {
        printk("[CHARGING] Error configuring interrupt: %d\n", ret);
        return;
    }

    // Initialize the callback
    gpio_init_callback(&charging_cb_data, charging_connected_callback, BIT(CHARGING_GPIO_PIN));
    ret = gpio_add_callback(gpio0_dev, &charging_cb_data);
    if (ret < 0) {
        printk("[CHARGING] Error adding callback: %d\n", ret);
        return;
    }

    printk("[CHARGING] Charging interrupt configured on GPIO %d\n", CHARGING_GPIO_PIN);
}
```

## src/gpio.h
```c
#pragma once
#include <zephyr/device.h>
#include <zephyr/drivers/gpio.h>
#include <hal/nrf_power.h>

#define GPIO_PIN 16
#define CHARGING_GPIO_PIN 7
#define CHARGING_GPIO_FLAGS (GPIO_INPUT | GPIO_INT_EDGE_RISING)
extern const struct device *gpio0_dev;

void gpio_high(void);
void charging_connected_callback(const struct device *dev, struct gpio_callback *cb, uint32_t pins);
void setup_charging_interrupt(void);
```

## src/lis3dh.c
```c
#include "lis3dh.h"
#include <zephyr/kernel.h>
#include <zephyr/sys/printk.h>
#include <zephyr/drivers/i2c.h>

static bool lis3dh_write_reg(const lis3dh_sensor_t *dev, uint8_t reg, uint8_t val) {
    return i2c_reg_write_byte(dev->i2c_dev, dev->i2c_addr, reg, val) == 0;
}

static bool lis3dh_read_reg(const lis3dh_sensor_t *dev, uint8_t reg, uint8_t *val) {
    return i2c_reg_read_byte(dev->i2c_dev, dev->i2c_addr, reg, val) == 0;
}

bool lis3dh_init(lis3dh_sensor_t *dev, const struct device *i2c_dev, uint8_t addr) {
    dev->i2c_dev = i2c_dev;
    dev->i2c_addr = addr;

    uint8_t who_am_i = 0;
    if (!lis3dh_read_reg(dev, LIS3DH_REG_WHO_AM_I, &who_am_i)) {
        printk("[LIS3DH] Failed to read WHO_AM_I\n");
        return false;
    }

    if (who_am_i != 0x33) {
        printk("[LIS3DH] Unexpected WHO_AM_I: 0x%02X\n", who_am_i);
        return false;
    }

    // Enable XYZ axes and set 100Hz data rate
    if (!lis3dh_write_reg(dev, LIS3DH_REG_CTRL1, 0x67)) return false;

    // Enable click interrupt on INT1
    if (!lis3dh_write_reg(dev, LIS3DH_REG_CTRL3, 0x80)) return false;

    // Latch interrupt if required
    if (!lis3dh_write_reg(dev, LIS3DH_REG_CTRL5, 0x08)) return false;

    return true;
}

bool lis3dh_set_int_click_config(lis3dh_sensor_t *dev, const lis3dh_int_click_config_t *cfg) {
    uint8_t click_cfg = 0;
    if (cfg->x_single) click_cfg |= BIT(0);
    if (cfg->x_double) click_cfg |= BIT(4);
    if (cfg->y_single) click_cfg |= BIT(1);
    if (cfg->y_double) click_cfg |= BIT(5);
    if (cfg->z_single) click_cfg |= BIT(2);
    if (cfg->z_double) click_cfg |= BIT(6);

    if (!lis3dh_write_reg(dev, LIS3DH_REG_CLICK_CFG, click_cfg)) return false;
    if (!lis3dh_write_reg(dev, LIS3DH_REG_CLICK_THS, cfg->threshold)) return false;
    if (!lis3dh_write_reg(dev, LIS3DH_REG_TIME_LIMIT, cfg->time_limit)) return false;
    if (!lis3dh_write_reg(dev, LIS3DH_REG_TIME_LATENCY, cfg->time_latency)) return false;
    if (!lis3dh_write_reg(dev, LIS3DH_REG_TIME_WINDOW, cfg->time_window)) return false;

    // Enable latching interrupt
    uint8_t ctrl5_val = cfg->latch ? 0x08 : 0x00;
    return lis3dh_write_reg(dev, LIS3DH_REG_CTRL5, ctrl5_val);
}

// LIS3DH Register for output data
#define LIS3DH_OUT_X_L  0x28
#define LIS3DH_AUTO_INCREMENT 0x80

bool lis3dh_read_data(lis3dh_sensor_t *dev, int16_t *data)
{
    uint8_t raw_data[6];
    uint8_t start_reg = LIS3DH_OUT_X_L | LIS3DH_AUTO_INCREMENT;

    int ret = i2c_write_read(dev->i2c_dev, dev->i2c_addr,
                             &start_reg, 1,
                             raw_data, 6);
    if (ret < 0) {
        printk("[LIS3DH] i2c_read failed: %d\n", ret);
        return false;
    }

    // Little endian: Low byte first
    data[0] = (int16_t)(raw_data[1] << 8 | raw_data[0]);
    data[1] = (int16_t)(raw_data[3] << 8 | raw_data[2]);
    data[2] = (int16_t)(raw_data[5] << 8 | raw_data[4]);

    return true;
}
```

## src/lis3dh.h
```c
#ifndef LIS3DH_H
#define LIS3DH_H

#include <zephyr/device.h>
#include <zephyr/drivers/i2c.h>
#include <stdbool.h>

#define LIS3DH_REG_WHO_AM_I         0x0F
#define LIS3DH_REG_CTRL1            0x20
#define LIS3DH_REG_CTRL3            0x22
#define LIS3DH_REG_CTRL5            0x24
#define LIS3DH_REG_CTRL6            0x25
#define LIS3DH_REG_CLICK_CFG        0x38
#define LIS3DH_REG_CLICK_SRC        0x39
#define LIS3DH_REG_CLICK_THS        0x3A
#define LIS3DH_REG_TIME_LIMIT       0x3B
#define LIS3DH_REG_TIME_LATENCY     0x3C
#define LIS3DH_REG_TIME_WINDOW      0x3D

typedef struct {
    const struct device *i2c_dev;
    uint8_t i2c_addr;
} lis3dh_sensor_t;

typedef struct {
    bool x_single;
    bool x_double;
    bool y_single;
    bool y_double;
    bool z_single;
    bool z_double;
    uint8_t threshold;
    uint8_t time_limit;
    uint8_t time_latency;
    uint8_t time_window;
    bool latch;
} lis3dh_int_click_config_t;

bool lis3dh_init(lis3dh_sensor_t *dev, const struct device *i2c_dev, uint8_t addr);
bool lis3dh_set_int_click_config(lis3dh_sensor_t *dev, const lis3dh_int_click_config_t *cfg);

typedef struct {
    uint16_t accel_sample_id;
    uint64_t timestamp_ms;
    int16_t data[3];
} lis3dh_data_t;

bool lis3dh_read_data(lis3dh_sensor_t *dev, int16_t *data);


#endif
```

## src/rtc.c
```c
#include <zephyr/kernel.h>
#include <zephyr/sys/printk.h>
#include <zephyr/irq.h>       
#include <time.h>
#include <stdio.h>
#include "rtc.h"

//#define UNIX_TIME_START 1718000000UL
#define LFCLK_FREQ      32768UL
#define RTC2_PRESCALER  0
#define RTC_TICKS_PER_SEC (LFCLK_FREQ / (RTC2_PRESCALER + 1))

static volatile bool rtc2_alarm_fired = false;

/* Direct IRQ handler registration */
void RTC2_IRQHandler(void)
{
    if (NRF_RTC2->EVENTS_COMPARE[0]) {
        NRF_RTC2->EVENTS_COMPARE[0] = 0;
        rtc2_alarm_fired = true;
        __SEV(); // Wake CPU from WFE
    }
}

static uint32_t unix_base = 0;   // UNIX time in seconds, set from BLE

/* Initialize RTC2 peripheral */
void rtc2_init(uint32_t unix_time) {
    unix_base = unix_time;
    printk("[RTC2] Initializing RTC2...\n");

    // Start LFCLK from XTAL
    NRF_CLOCK->LFCLKSRC = CLOCK_LFCLKSRC_SRC_Xtal;
    NRF_CLOCK->EVENTS_LFCLKSTARTED = 0;
    NRF_CLOCK->TASKS_LFCLKSTART = 1;
    while (!NRF_CLOCK->EVENTS_LFCLKSTARTED) {}

    // Stop and configure RTC2
    NRF_RTC2->TASKS_STOP = 1;
    NRF_RTC2->PRESCALER = RTC2_PRESCALER;
    NRF_RTC2->TASKS_CLEAR = 1;
    NRF_RTC2->TASKS_START = 1;

    // Enable COMPARE0 event & interrupt
    NRF_RTC2->EVTENSET = RTC_EVTENSET_COMPARE0_Msk;
    NRF_RTC2->INTENSET = RTC_INTENSET_COMPARE0_Msk;

    /* Register the interrupt with Zephyr */
    IRQ_DIRECT_CONNECT(RTC2_IRQn, 3, RTC2_IRQHandler, 0);

    /* Enable the interrupt in NVIC */
    irq_enable(RTC2_IRQn);

    

    printk("[RTC2] RTC2 running (prescaler=%d, unix start=%u).\n",
           RTC2_PRESCALER, unix_time);
}

// uint64_t get_timestamp_ms(void) {
//     uint32_t ticks = NRF_RTC2->COUNTER;
//     uint64_t ms = ((uint64_t)ticks * 1000UL) / RTC_TICKS_PER_SEC;
//     return ((uint64_t)UNIX_TIME_START * 1000UL) + ms;
// }

/*This function returns the current timestamp in milliseconds based on the number of ticks from the RTC2 hardware counter.

It calculates the elapsed time since a defined starting point (UNIX_TIME_START) and adds the milliseconds computed from the counter ticks.*/
uint64_t get_timestamp_ms(void) {
    uint32_t ticks = NRF_RTC2->COUNTER;
    uint64_t elapsed_ms = ((uint64_t)ticks * 1000UL) / RTC_TICKS_PER_SEC;
    //printk("\n---------------%llu------------------",((uint64_t)unix_base * 1000ULL) + elapsed_ms);
    return ((uint64_t)unix_base * 1000ULL) + elapsed_ms;
}


void format_timestamp(uint64_t timestamp_ms, char *buffer, size_t size) {
    time_t sec = timestamp_ms / 1000;
    uint16_t ms = timestamp_ms % 1000;
    struct tm t;
    gmtime_r(&sec, &t);
    snprintk(buffer, size, "%02d/%02d/%04d %02d:%02d:%02d.%03d",
        t.tm_mday, t.tm_mon + 1, t.tm_year + 1900,
        t.tm_hour, t.tm_min, t.tm_sec, ms);
}

void rtc2_set_alarm(uint32_t ms_from_now) {
    uint32_t current_ticks = NRF_RTC2->COUNTER;
    uint32_t ticks_offset = (ms_from_now * RTC_TICKS_PER_SEC) / 1000UL;
    uint32_t compare_value = (current_ticks + ticks_offset) & 0x00FFFFFF;
    NRF_RTC2->CC[0] = compare_value;
    rtc2_alarm_fired = false;
}

bool rtc2_alarm_triggered(void) {
    return rtc2_alarm_fired;
}
```

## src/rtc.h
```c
#ifndef RTC_H
#define RTC_H

#include <zephyr/kernel.h>
#include <stdbool.h>
#include <inttypes.h>

extern uint32_t UNIX_TIME_START;

void rtc2_init(uint32_t unix_time);
uint64_t get_timestamp_ms(void);
void format_timestamp(uint64_t timestamp_ms, char *buffer, size_t size);
void rtc2_set_alarm(uint32_t ms_from_now);
bool rtc2_alarm_triggered(void);
void RTC2_IRQHandler(void);

#endif 
```
